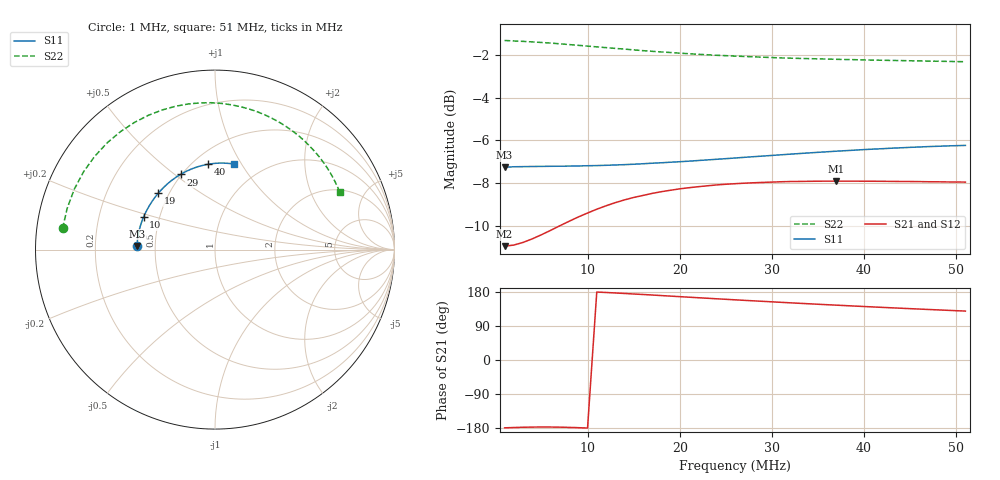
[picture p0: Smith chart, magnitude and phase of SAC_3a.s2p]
# MHz S RI R 50
! S-Parameters data
! Freq  reS11  imS11  reS21  imS21  reS12  imS12  reS22  imS22
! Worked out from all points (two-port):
!   51 points, 1 MHz to 51 MHz, reference 50 ohm
!   highest |S21| = -7.90 dB at 37 MHz (marker M1); lowest = -10.9 dB at 1 MHz (marker M2)
!   |S21| within 3 dB of the highest: 1.653 MHz to end of sweep
!   lowest |S11| = -7.3 dB at 1 MHz (marker M3), VSWR 2.53, Z = 19.7 + j0.986 ohm
!   |S11| at or under -10 dB: nowhere
!   |S22| runs from -2.3 to -1.3 dB; largest |S21 - S12| = 0.0023
!   S11 on the Smith chart (normalised r, x): 1 MHz: 0.39, +0.02; 10 MHz: 0.41, +0.18; 19 MHz: 0.44, +0.34; 29 MHz: 0.49, +0.52; 40 MHz: 0.59, +0.73; 51 MHz: 0.74, +0.93
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1  -0.4335 0.0203  -0.2839 -0.0051  -0.2825 -0.00531  -0.8492 0.1183
2  -0.4333 0.0381  -0.2855 -0.00893  -0.2841 -0.00941  -0.8233 0.2309
3  -0.4316 0.0567  -0.2894 -0.0126  -0.288 -0.0132  -0.784 0.3367
5  -0.4256 0.0938  -0.3015 -0.0167  -0.3001 -0.0175  -0.67 0.5202
6  -0.4215 0.1121  -0.3087 -0.0166  -0.3075 -0.0177  -0.6005 0.595
7  -0.4165 0.13  -0.3165 -0.0152  -0.3152 -0.0164  -0.526 0.6577
8  -0.4109 0.1475  -0.3243 -0.0123  -0.3232 -0.0137  -0.4491 0.7083
9  -0.4046 0.1647  -0.3321 -0.00813  -0.3309 -0.00961  -0.3716 0.7482
10  -0.3981 0.1814  -0.3393 -0.00264  -0.3385 -0.00415  -0.2952 0.7776
12  -0.3827 0.2139  -0.3525 0.0113  -0.3518 0.00938  -0.1498 0.8113
14  -0.3656 0.2448  -0.3629 0.0282  -0.3625 0.026  -0.0193 0.8183
16  -0.3469 0.274  -0.37 0.0461  -0.3702 0.0448  0.0921 0.8065
18  -0.3267 0.3014  -0.3747 0.0657  -0.3751 0.0644  0.1888 0.7837
19  -0.3159 0.3145  -0.3759 0.0758  -0.3766 0.0743  0.2313 0.7697
22  -0.2815 0.3508  -0.3763 0.1054  -0.3772 0.1041  0.3387 0.7204
26  -0.2317 0.3927  -0.3703 0.1436  -0.3716 0.1426  0.4448 0.6508
29  -0.1921 0.4187  -0.3619 0.1702  -0.3634 0.1695  0.504 0.6002
35  -0.1093 0.4572  -0.338 0.2185  -0.3397 0.2181  0.5874 0.5083
37  -0.0813 0.4659  -0.3287 0.2325  -0.3303 0.2325  0.6079 0.4805
40  -0.0394 0.4754  -0.3135 0.2524  -0.3152 0.2525  0.6337 0.4418
43  0.00179 0.4806  -0.2975 0.2705  -0.2993 0.2709  0.6545 0.4058
51  0.1059 0.4762  -0.2527 0.3109  -0.2543 0.3118  0.6937 0.3227
